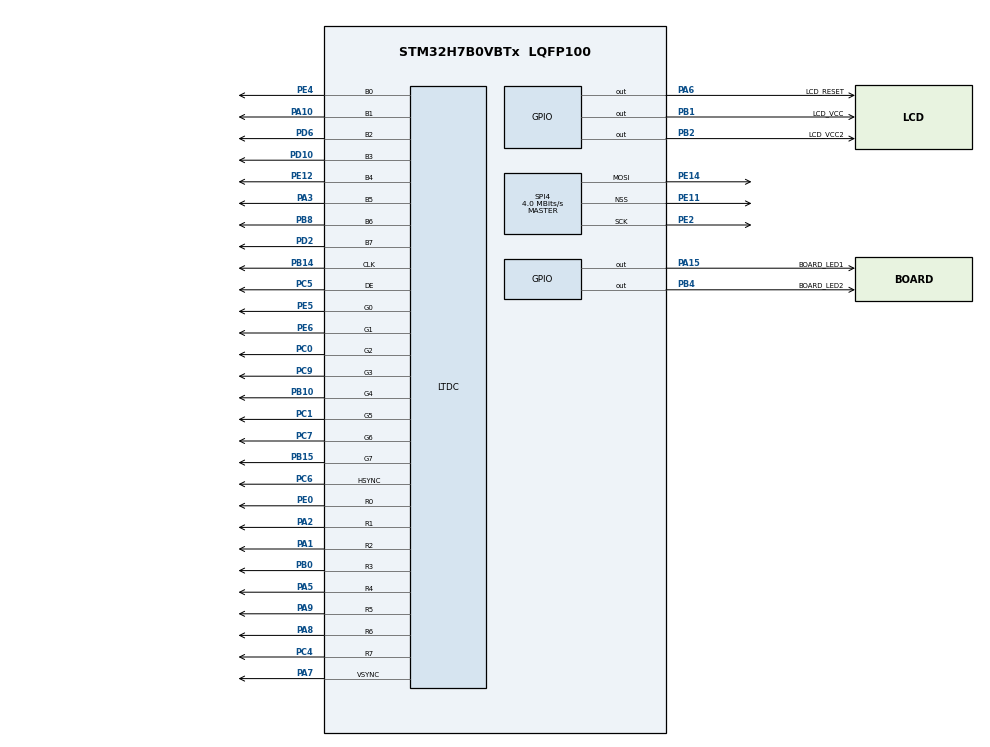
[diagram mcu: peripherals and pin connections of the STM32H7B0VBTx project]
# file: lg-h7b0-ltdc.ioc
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CORTEX_M7.CPU_DCache=Enabled
CORTEX_M7.CPU_ICache=Enabled
CORTEX_M7.MPU_Control=__NULL
JPEG.USE_JPEG_ENCODER=0
LTDC.ActiveH=0
LTDC.ActiveW=0
LTDC.Alpha0_L0=255
LTDC.Alpha_L0=255
LTDC.Blue=255
LTDC.Blue_L0=205
LTDC.DEPolarity=LTDC_DEPOLARITY_AL
LTDC.Green=255
LTDC.Green_L0=205
LTDC.Green_L1=255
LTDC.HBP=72-48
LTDC.HFP=0
LTDC.HSPolarity=LTDC_HSPOLARITY_AL
LTDC.HSync=48+1
LTDC.ImageHeight_L0=720
LTDC.ImageWidth_L0=480
LTDC.Layers=0
LTDC.PCPolarity=LTDC_PCPOLARITY_IIPC
LTDC.PixelFormat_L0=LTDC_PIXEL_FORMAT_RGB888
LTDC.Red=255
LTDC.Red_L0=205
LTDC.VBP=18-10
LTDC.VFP=0
LTDC.VSPolarity=LTDC_VSPOLARITY_AL
LTDC.VSync=10+1
LTDC.WindowX0_L0=5
LTDC.WindowX1_L0=483
LTDC.WindowY0_L0=8+40
LTDC.WindowY1_L0=803-40
Mcu.Family=STM32H7
Mcu.Name=STM32H7B0VBTx
Mcu.Package=LQFP100
NVIC.JPEG_IRQn=true\:0\:0\:false\:false\:true\:true\:true
NVIC.LTDC_ER_IRQn=true\:0\:0\:false\:false\:true\:true\:true
NVIC.LTDC_IRQn=true\:0\:0\:false\:false\:true\:true\:true
NVIC.PriorityGroup=NVIC_PRIORITYGROUP_4
NVIC.TIM2_IRQn=true\:0\:0\:false\:false\:true\:true\:true
PA1.Mode=RGB888
PA1.Signal=LTDC_R2
PA10.Mode=RGB888
PA10.Signal=LTDC_B1
PA13.Mode=Serial_Wire
PA13.Signal=DEBUG_JTMS-SWDIO
PA14.Mode=Serial_Wire
PA14.Signal=DEBUG_JTCK-SWCLK
PA15.GPIO_Label=BOARD_LED1
PA15.Signal=GPIO_Output
PA2.Mode=RGB888
PA2.Signal=LTDC_R1
PA3.GPIO_Speed=GPIO_SPEED_FREQ_VERY_HIGH
PA3.Mode=RGB888
PA3.Signal=LTDC_B5
PA5.GPIO_Speed=GPIO_SPEED_FREQ_VERY_HIGH
PA5.Mode=RGB888
PA5.Signal=LTDC_R4
PA6.GPIO_Label=LCD_RESET
PA6.GPIO_Speed=GPIO_SPEED_FREQ_LOW
PA6.PinState=GPIO_PIN_SET
PA6.Signal=GPIO_Output
PA7.GPIO_Speed=GPIO_SPEED_FREQ_VERY_HIGH
PA7.Mode=RGB888
PA7.Signal=LTDC_VSYNC
PA8.GPIO_Speed=GPIO_SPEED_FREQ_VERY_HIGH
PA8.Mode=RGB888
PA8.Signal=LTDC_R6
PA9.GPIO_Speed=GPIO_SPEED_FREQ_VERY_HIGH
PA9.Mode=RGB888
PA9.Signal=LTDC_R5
PB0.GPIO_Speed=GPIO_SPEED_FREQ_VERY_HIGH
PB0.Mode=RGB888
PB0.Signal=LTDC_R3
PB1.GPIO_Label=LCD_VCC
PB1.GPIO_Speed=GPIO_SPEED_FREQ_LOW
PB1.Signal=GPIO_Output
PB10.GPIO_Speed=GPIO_SPEED_FREQ_VERY_HIGH
PB10.Mode=RGB888
PB10.Signal=LTDC_G4
PB14.GPIO_Speed=GPIO_SPEED_FREQ_VERY_HIGH
PB14.Mode=RGB888
PB14.Signal=LTDC_CLK
PB15.GPIO_Speed=GPIO_SPEED_FREQ_VERY_HIGH
PB15.Mode=RGB888
PB15.Signal=LTDC_G7
PB2.GPIO_Label=LCD_VCC2
PB2.Signal=GPIO_Output
PB4.GPIO_Label=BOARD_LED2
PB4.Signal=GPIO_Output
PB8.GPIO_Speed=GPIO_SPEED_FREQ_VERY_HIGH
PB8.Mode=RGB888
PB8.Signal=LTDC_B6
PC0.GPIO_Speed=GPIO_SPEED_FREQ_VERY_HIGH
PC0.Mode=RGB888
PC0.Signal=LTDC_G2
PC1.GPIO_Speed=GPIO_SPEED_FREQ_VERY_HIGH
PC1.Mode=RGB888
PC1.Signal=LTDC_G5
PC4.GPIO_Speed=GPIO_SPEED_FREQ_VERY_HIGH
PC4.Mode=RGB888
PC4.Signal=LTDC_R7
PC5.GPIO_Speed=GPIO_SPEED_FREQ_VERY_HIGH
PC5.Mode=RGB888
PC5.Signal=LTDC_DE
PC6.GPIO_Speed=GPIO_SPEED_FREQ_VERY_HIGH
PC6.Mode=RGB888
PC6.Signal=LTDC_HSYNC
PC7.GPIO_Speed=GPIO_SPEED_FREQ_VERY_HIGH
PC7.Mode=RGB888
PC7.Signal=LTDC_G6
PC9.GPIO_Speed=GPIO_SPEED_FREQ_VERY_HIGH
PC9.Mode=RGB888
PC9.Signal=LTDC_G3
PD10.GPIO_Speed=GPIO_SPEED_FREQ_VERY_HIGH
PD10.Mode=RGB888
PD10.Signal=LTDC_B3
PD2.GPIO_Speed=GPIO_SPEED_FREQ_VERY_HIGH
PD2.Mode=RGB888
PD2.Signal=LTDC_B7
PD6.Mode=RGB888
PD6.Signal=LTDC_B2
PE0.Mode=RGB888
PE0.Signal=LTDC_R0
PE11.GPIO_Speed=GPIO_SPEED_FREQ_LOW
PE11.Mode=NSS_Signal_Hard_Output
PE11.Signal=SPI4_NSS
PE12.GPIO_Speed=GPIO_SPEED_FREQ_VERY_HIGH
PE12.Mode=RGB888
PE12.Signal=LTDC_B4
PE14.GPIO_Speed=GPIO_SPEED_FREQ_LOW
PE14.Mode=TX_Only_Simplex_Unidirect_Master
PE14.Signal=SPI4_MOSI
PE2.GPIO_Speed=GPIO_SPEED_FREQ_LOW
PE2.Mode=TX_Only_Simplex_Unidirect_Master
PE2.Signal=SPI4_SCK
PE4.Mode=RGB888
PE4.Signal=LTDC_B0
PE5.Mode=RGB888
PE5.Signal=LTDC_G0
PE6.Mode=RGB888
PE6.Signal=LTDC_G1
PH0-OSC_IN.Mode=HSE-External-Oscillator
PH0-OSC_IN.Signal=RCC_OSC_IN
PH1-OSC_OUT.Mode=HSE-External-Oscillator
PH1-OSC_OUT.Signal=RCC_OSC_OUT
ProjectManager.HeapSize=0x200
ProjectManager.StackSize=0x400
ProjectManager.TargetToolchain=STM32CubeIDE
RCC.ADCFreq_Value=108000000
RCC.APB1Freq_Value=140000000
RCC.APB2Freq_Value=140000000
RCC.APB3Freq_Value=140000000
RCC.APB4Freq_Value=140000000
RCC.CDPPRE=RCC_APB3_DIV2
RCC.CDPPRE1=RCC_APB1_DIV2
RCC.CDPPRE2=RCC_APB2_DIV2
RCC.CortexFreq_Value=280000000
RCC.DIVM1=3
RCC.DIVM2=1
RCC.DIVM3=4
RCC.DIVN1=70
RCC.DIVN2=9
RCC.DIVN3=24
RCC.DIVP3=9
RCC.DIVQ1=1
RCC.DIVR3=5
RCC.HCLKFreq_Value=280000000
RCC.PLL2FRACN=0
RCC.PLL3FRACN=5462
RCC.PLLFRACN=0
RCC.PLLSourceVirtual=RCC_PLLSOURCE_HSE
RCC.SPI123CLockSelection=RCC_SPI123CLKSOURCE_PLL3
RCC.SRDPPRE=RCC_APB4_DIV2
RCC.SYSCLKFreq_VALUE=280000000
RCC.SYSCLKSource=RCC_SYSCLKSOURCE_PLLCLK
RCC.Spi45ClockSelection=RCC_SPI45CLKSOURCE_HSI
RCC.USBFreq_Value=560000000
SPI4.BaudRatePrescaler=SPI_BAUDRATEPRESCALER_16
SPI4.CLKPhase=SPI_PHASE_2EDGE
SPI4.CLKPolarity=SPI_POLARITY_HIGH
SPI4.CalculateBaudRate=4.0 MBits/s
SPI4.DataSize=SPI_DATASIZE_8BIT
SPI4.Direction=SPI_DIRECTION_2LINES_TXONLY
SPI4.Mode=SPI_MODE_MASTER
SPI4.NSSPMode=SPI_NSS_PULSE_DISABLE
SPI4.NSSPolarity=SPI_NSS_POLARITY_LOW
SPI4.VirtualNSS=VM_NSSHARD
SPI4.VirtualType=VM_MASTER
TIM2.AutoReloadPreload=TIM_AUTORELOAD_PRELOAD_ENABLE
TIM2.Period=28000-1
TIM2.Prescaler=10000-1
VP_JPEG_VS_JPEG.Mode=JPEG_Activate
VP_TIM2_VS_ClockSourceINT.Mode=Internal
board=custom

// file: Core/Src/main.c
/* USER CODE BEGIN Header */
/**
  ******************************************************************************
  * @file           : main.c
  * @brief          : Main program body
  ******************************************************************************
  * @attention
  *
  * <h2><center>&copy; Copyright (c) 2022 STMicroelectronics.
  * All rights reserved.</center></h2>
  *
  * This software component is licensed by ST under Ultimate Liberty license
  * SLA0044, the "License"; You may not use this file except in compliance with
  * the License. You may obtain a copy of the License at:
  *                             www.st.com/SLA0044
  *
  ******************************************************************************
  */
/* USER CODE END Header */
#include "main.h"
#include "jpeg.h"
#include "ltdc.h"
#include "spi.h"
#include "tim.h"
#include "gpio.h"

void SystemClock_Config(void);

/* USER CODE BEGIN 0 */

/* GPIO PINOUT
 * LCD VCC    -----> PB1
 * LCD VCC2    -----> PB2
 * LCD RESET  -----> PA6 HIGH
 * BOARD LED2 -----> PB4
 * BOARD LED1 -----> PA15
 */

void LCD_SPI_Transmit(uint8_t *data,int length){
    HAL_SPI_Transmit(&hspi4,data,length,1000);
}

void LCD_WriteReg(uint8_t reg){
    uint8_t regStartByte=0b01110100;  //t
    uint8_t dataBuffer[2];
    dataBuffer[0]=regStartByte;
    dataBuffer[1]=reg;
    LCD_SPI_Transmit(dataBuffer,2);
}
void LCD_WriteDat(uint8_t *data,int len){
    uint8_t datStartByte=0b01110110;  //v
    uint8_t dataBuffer[len+1];
    dataBuffer[0]=datStartByte;
    for(int index=0;index<len;index++){
        dataBuffer[index+1]=data[index];
    }
    LCD_SPI_Transmit(dataBuffer,len+1);
}

void LCD_Power_On_Set(){

    // power on set 1
    HAL_GPIO_WritePin(GPIOB,GPIO_PIN_1,GPIO_PIN_SET);  //VCC ON
    HAL_GPIO_WritePin(GPIOB,GPIO_PIN_2,GPIO_PIN_SET);  //VCC ON

    // power on set 2
    HAL_Delay(10);

    HAL_GPIO_WritePin(GPIOA,GPIO_PIN_6,GPIO_PIN_RESET);  //RESET start
    HAL_Delay(10);
    HAL_GPIO_WritePin(GPIOA,GPIO_PIN_6,GPIO_PIN_SET);  //RESET end

    // power on set 3
    HAL_Delay(10);
}

void LCD_Display_Initial_Set(){

    HAL_GPIO_WritePin(GPIOA,GPIO_PIN_15,GPIO_PIN_SET);  //LED Indicator

    uint8_t data[9]={};
    // display initial set 1-2
    LCD_WriteReg(0xc0);
    data[0]=0x01; data[1]=0x18;
    LCD_WriteDat(data,2);
    // display initial set 3
    HAL_Delay(10);
    // display initial set 4
    LCD_WriteReg(0x20);
    data[0]=0x00;
    LCD_WriteDat(data,1);
    // display initial set 5
    LCD_WriteReg(0x36);
    data[0]=0x00;
    LCD_WriteDat(data,1);
    // display initial set 6
    LCD_WriteReg(0x3a);
    data[0]=0x70;
    LCD_WriteDat(data,1);
    // display initial set 7-9
    LCD_WriteReg(0xb1);
    data[0]=0x12; data[1]=0x1f; data[2]=0x1c;
    LCD_WriteDat(data,3);
    // display initial set 10-11
    LCD_WriteReg(0xb2);
    data[0]=0x20; data[1]=0xc8;
    LCD_WriteDat(data,2);
    // display initial set 12
    LCD_WriteReg(0xb3);
    data[0]=0x00;
    LCD_WriteDat(data,1);
    // display initial set 13
    LCD_WriteReg(0xb4);
    data[0]=0x04;
    LCD_WriteDat(data,1);
    // display initial set 14-18
    LCD_WriteReg(0xb5);
    data[0]=0x12; data[1]=0x0f; data[2]=0x0f; data[3]=0x00; data[4]=0x00;
    LCD_WriteDat(data,5);
    // display initial set 19-24
    LCD_WriteReg(0xb6);
    data[0]=0x03; data[1]=0x18; data[2]=0x02; data[3]=0x40; data[4]=0x10; data[5]=0x33;
    LCD_WriteDat(data,6);
    // display initial set 25
    HAL_Delay(10);
    // display initial set 26-30
    LCD_WriteReg(0xc3);
    data[0]=0x07; data[1]=0x05; data[2]=0x04; data[3]=0x04; data[4]=0x03;
    LCD_WriteDat(data,5);
    // display initial set 31-36
    LCD_WriteReg(0xc4);
    data[0]=0x12; data[1]=0x34; data[2]=0x13; data[3]=0x13; data[4]=0x00; data[5]=0x0c;
    LCD_WriteDat(data,6);
    // display initial set 37
    HAL_Delay(10);
    // display initial set 38
    LCD_WriteReg(0xc5);
    data[0]=0x76;
    LCD_WriteDat(data,1);
    // display initial set 39
    HAL_Delay(10);
    // display initial set 40-42
    LCD_WriteReg(0xc6);
    data[0]=0x23; data[1]=0x50; data[2]=0x00;
    LCD_WriteDat(data,3);
    // display initial set 43
    HAL_Delay(10);
    // display initial set 44-45
    LCD_WriteReg(0xc7);
    data[0]=0x00; data[1]=0xff;
    LCD_WriteDat(data,2);
    // display initial set 53-61
    LCD_WriteReg(0xd0);
    data[0]=0x00; data[1]=0x04; data[2]=0x57; data[3]=0x02; data[4]=0x00; data[5]=0x00; data[6]=0x02; data[7]=0x00; data[8]=0x03;
    LCD_WriteDat(data,9);
    // display initial set 62-70
    LCD_WriteReg(0xd2);
    data[0]=0x00; data[1]=0x04; data[2]=0x57; data[3]=0x02; data[4]=0x00; data[5]=0x00; data[6]=0x02; data[7]=0x00; data[8]=0x03;
    LCD_WriteDat(data,9);
    // display initial set 71-79
    LCD_WriteReg(0xd4);
    data[0]=0x00; data[1]=0x04; data[2]=0x57; data[3]=0x02; data[4]=0x00; data[5]=0x00; data[6]=0x02; data[7]=0x00; data[8]=0x03;
    LCD_WriteDat(data,9);
    // display initial set 80-89
    LCD_WriteReg(0xd1);
    data[0]=0x00; data[1]=0x04; data[2]=0x57; data[3]=0x02; data[4]=0x00; data[5]=0x00; data[6]=0x00; data[7]=0x00; data[8]=0x03;
    LCD_WriteDat(data,9);
    // display initial set 90-98
    LCD_WriteReg(0xd3);
    data[0]=0x00; data[1]=0x04; data[2]=0x57; data[3]=0x02; data[4]=0x00; data[5]=0x00; data[6]=0x00; data[7]=0x00; data[8]=0x03;
    LCD_WriteDat(data,9);
    // display initial set 99-107
    LCD_WriteReg(0xd5);
    data[0]=0x00; data[1]=0x04; data[2]=0x57; data[3]=0x02; data[4]=0x00; data[5]=0x00; data[6]=0x00; data[7]=0x00; data[8]=0x03;
    LCD_WriteDat(data,9);

    HAL_GPIO_WritePin(GPIOA,GPIO_PIN_15,GPIO_PIN_RESET);  //LED Indicator
}

void LCD_Sleep_Out_N_Display_On_Set(){

    HAL_GPIO_WritePin(GPIOA,GPIO_PIN_15,GPIO_PIN_SET);  //LED Indicator

    uint8_t data[9]={};
    // sleep out & display on set 1
    LCD_WriteReg(0x11);
    data[0]=0x00;
    LCD_WriteDat(data,1);
    // sleep out & display on set 2
    HAL_Delay(100);
    // sleep out & display on set 3
    LCD_WriteReg(0x29);
    data[0]=0x00;
    LCD_WriteDat(data,1);

    HAL_GPIO_WritePin(GPIOA,GPIO_PIN_15,GPIO_PIN_RESET);  //LED Indicator

}
void LCD_Display_Off_N_Sleep_In_Set(){

    HAL_GPIO_WritePin(GPIOA,GPIO_PIN_15,GPIO_PIN_SET);  //LED Indicator

    uint8_t data[9]={};
    // display off & sleep in set 1
    LCD_WriteReg(0x10);
    data[0]=0x00;
    LCD_WriteDat(data,1);
    // display off & sleep in set 2
    LCD_WriteReg(0x28);
    data[0]=0x00;
    LCD_WriteDat(data,1);

    HAL_GPIO_WritePin(GPIOA,GPIO_PIN_15,GPIO_PIN_RESET);  //LED Indicator

}

#define PI 3.14159265

#define S(o, n) r[t[(int)(h[0]) / 60 * 3 + o] + o - 2] = (n + h[2] - c / 2) * 255;
void C(float h[3], int r[3]) {
    float g = 2 * h[2] - 1, c = (g < 0 ? 1 + g : 1 - g) * h[1], a = (int)(h[0]) % 120 / 60.f - 1;
    int t[] = { 2, 2, 2, 3, 1, 2, 3, 3, 0, 4, 2, 0, 4, 1, 1, 2, 3, 1 };
    S(0, c)
    S(1, c * (a < 0 ? 1 + a : 1 - a))
    S(2, 0)
}

uint32_t huecolor(float hue) {
    int normalized = (int)(hue /360.0 * 256 * 6);

    //find the region for this position
    int region = normalized / 256;

    //find the distance to the start of the closest region
    int x = normalized % 256;

    uint8_t r = 0, g = 0, b = 0;
    switch (region)
    {
        case 0: r = 255; g = 0;   b = 0;   g += x; break;
        case 1: r = 255; g = 255; b = 0;   r -= x; break;
        case 2: r = 0;   g = 255; b = 0;   b += x; break;
        case 3: r = 0;   g = 255; b = 255; g -= x; break;
        case 4: r = 0;   g = 0;   b = 255; r += x; break;
        case 5: r = 255; g = 0;   b = 255; b -= x; break;
    }
    return r + (g << 8) + (b << 16);
}
void pset32to16(int x,int y,uint32_t data){
    int r=data>>19&0b11111;
    int g=data>>10&0b111111;
    int b=data>>3&0b11111;
    int color=0;
    color|=r<<11|g<<5|b;
    displayData[x + y * 480] = color;
}

uint16_t huecolor16(float hue) {
    float r = 0, g = 0, b = 0;
    uint16_t color = 0;
    int rgb[3] = {};
    float hsl[3] = { hue, 1, .6 };
    C(hsl, rgb);
    r = rgb[0] * 0b11111 / 255;
    g = rgb[1] * 0b111111 / 255;
    b = rgb[2] * 0b11111 / 255;
    color |= (((uint16_t)(r)&0b11111) << 11);
    color |= (((uint16_t)(g)&0b111111) << 5);
    color |= ((uint16_t)(b)&0b11111);
    return color;
}

void pset24(int x,int y,uint32_t data){
    if(y>=720)return;
    displayData[x*3 + y*3 * 480] = (data&0xff); //b
    displayData[x*3+1 + y*3 * 480] = (data&0xff00)>>8; //g
    displayData[x*3+2+ y*3 * 480] = (data&0xff0000)>>16; //r
}

void pset32(int x,int y,uint32_t data){
    displayData[x + y * 480] = data;
}

volatile uint32_t color=0;
float hue=0;
int r=0;
int centerX=480/2,centerY=720/2;
const uint8_t font8x8[13][8] = {
        {0x3c, 0x42, 0x46, 0x4a, 0x52, 0x62, 0x3c, 0x00},  // 0030 (zero)
        {0x10, 0x30, 0x50, 0x10, 0x10, 0x10, 0x7c, 0x00},  // 0031 (one)
        {0x3c, 0x42, 0x02, 0x0c, 0x30, 0x42, 0x7e, 0x00},  // 0032 (two)
        {0x3c, 0x42, 0x02, 0x1c, 0x02, 0x42, 0x3c, 0x00},  // 0033 (three)
        {0x08, 0x18, 0x28, 0x48, 0xfe, 0x08, 0x1c, 0x00},  // 0034 (four)
        {0x7e, 0x40, 0x7c, 0x02, 0x02, 0x42, 0x3c, 0x00},  // 0035 (five)
        {0x1c, 0x20, 0x40, 0x7c, 0x42, 0x42, 0x3c, 0x00},  // 0036 (six)
        {0x7e, 0x42, 0x04, 0x08, 0x10, 0x10, 0x10, 0x00},  // 0037 (seven)
        {0x3c, 0x42, 0x42, 0x3c, 0x42, 0x42, 0x3c, 0x00},  // 0038 (eight)
        {0x3c, 0x42, 0x42, 0x3e, 0x02, 0x04, 0x38, 0x00},  // 0039 (nine)
        {0x0c, 0x12, 0x10, 0x38, 0x10, 0x10, 0x38, 0x00},  // 0066 (f)
        {0x00, 0x00, 0x6c, 0x32, 0x32, 0x2c, 0x20, 0x70},  // 0070 (p)
        {0x00, 0x00, 0x3e, 0x40, 0x3c, 0x02, 0x7c, 0x00},  // 0073 (s)
};
void printChar(int index,int cx,int cy){
    uint8_t* data=font8x8[index];
    for(int y=0;y<8;y++){
        int line=data[y];
        for(int x=0;x<8;x++){
            for(int r=0;r<2;r++){
                for( int s=0;s<2;s++){
                    if((line>>(7-x))&1==1){
                        pset24(cx+(7-y)*2+r,cy+x*2+s,0xffffff);
                    }else{
                        pset24(cx+(7-y)*2+r,cy+x*2+s,0);
                    }
                }
            }
        }
    }
}

void printFPS(int fps){
    printChar(fps/100%10,0,0);
    printChar(fps/10%10,0,15);
    printChar(fps%10,0,15*2);
    printChar(10,0,15*3);
    printChar(11,0,15*4);
    printChar(12,0,15*5);
}
int time=0;
int fps=0;
void HAL_TIM_PeriodElapsedCallback(TIM_HandleTypeDef* htim){
    printFPS(fps);
    fps=0;
}
//uint32_t hueLUT[720]={};
float sineLUT[360]={};
float cosineLUT[360]={};
void draw() {
//    hue+=2;
//    if(hue>359)hue=0;
//    color=hueLUT[(int)hue/2];
//    for(int i=0;i<800;i++){
////        hue+=2;
////        if(hue>359)hue=0;
//        for(int j=16;j<480;j++){
//            pset16(j,i,color);
//        }
//    }

    hue += 1;
    if(hue>359)hue=0;
    for (int i = 0; i < 720; i++) {
        hue+=0.5;
        if(hue>359)hue=0;
        color=huecolor(hue);
        for(int r=100;r<200;r+=4) {
            int x1 = cosineLUT[i/2] * r + centerX;
            int y1 = sineLUT[i/2] * r + centerY;
            for(int x=-2;x<3;x++){
                for(int y=-2;y<3;y++) {
                    pset24(x1+x, y1+y, color);
                }
            }
        }
    }
    fps+=1;
}

/* USER CODE END 0 */

int main(void)
{
  /* USER CODE BEGIN 1 */
    for(int i=0;i<360;i++){
        //hueLUT[i]= huecolor((float)i);
        sineLUT[i]=sin(i*PI/180);
        cosineLUT[i]=cos(i*PI/180);
    }
  /* USER CODE END 1 */

  /* Enable I-Cache---------------------------------------------------------*/
  SCB_EnableICache();

  /* Enable D-Cache---------------------------------------------------------*/
  SCB_EnableDCache();

  /* MCU Configuration--------------------------------------------------------*/

  /* Reset of all peripherals, Initializes the Flash interface and the Systick. */
  HAL_Init();

  /* Configure the system clock */
  SystemClock_Config();

  /* Initialize all configured peripherals */
  MX_GPIO_Init();
//  MX_LTDC_Init();
  MX_SPI4_Init();
  MX_TIM2_Init();
  MX_JPEG_Init();
  /* USER CODE BEGIN 2 */
    HAL_TIM_Base_Start_IT(&htim2);

    HAL_GPIO_WritePin(GPIOA,GPIO_PIN_15,GPIO_PIN_RESET);  //LED Indicator
    HAL_GPIO_WritePin(GPIOB,GPIO_PIN_2,GPIO_PIN_RESET);  //LED VCC

    HAL_Delay(100);
    LCD_Power_On_Set();
    //HAL_Delay(100);
    LCD_Display_Initial_Set();
    //HAL_Delay(100);
    LCD_Sleep_Out_N_Display_On_Set();

    MX_LTDC_Init();

//    for(int i=150;i<690;i++){
//        color=huecolor(hue);
//        hue+=0.5;
//        if(hue>=359)hue=0;
//        for(int j=0;j<370;j++){
//            displayData[(i)*370+j]=color;
//        }
//    }
    for(int i=0;i<480;i++){
        for(int j=0;j<800;j++){
            pset24(i,j,0xffffff);
        }
    }
    for(int h=0;h<lgHeight;h++){
        for(int w=0;w<lgWidth;w++) {
//            displayData[w + h * 370] = lg[w + h *lgWidth];
            pset24(w,h,lg[w + h *lgWidth]);
            //displayData[w +(370-lgWidth)+ h * 370] = lg[w + h *lgWidth];
        }
    }

  /* USER CODE END 2 */

  /* Infinite loop */
  /* USER CODE BEGIN WHILE */

    while (1)
    {
        draw();

//      HAL_GPIO_WritePin(GPIOA,GPIO_PIN_15,GPIO_PIN_RESET);  //LED Indicator
//      HAL_Delay(500);
//      HAL_GPIO_WritePin(GPIOA,GPIO_PIN_15,GPIO_PIN_SET);  //LED Indicator
//      HAL_Delay(500);

//        r+=2;
//        if(r>690-150)r=0;
//        for(int h=0;h<lgHeight;h++){
//            for(int w=0;w<lgWidth;w++) {
//                pset(w,h+r,lg[w + h *lgWidth]);
//                //displayData[w+ (h+r) * 370] = lg[w + h *lgWidth];
//            }
//        }

    /* USER CODE END WHILE */

  }
}

void SystemClock_Config(void)
{
  RCC_OscInitTypeDef RCC_OscInitStruct = {0};
  RCC_ClkInitTypeDef RCC_ClkInitStruct = {0};

  /** Supply configuration update enable
  */
  HAL_PWREx_ConfigSupply(PWR_LDO_SUPPLY);
  /** Configure the main internal regulator output voltage
  */
  __HAL_PWR_VOLTAGESCALING_CONFIG(PWR_REGULATOR_VOLTAGE_SCALE0);

  while(!__HAL_PWR_GET_FLAG(PWR_FLAG_VOSRDY)) {}
  /** Macro to configure the PLL clock source
  */
  __HAL_RCC_PLL_PLLSOURCE_CONFIG(RCC_PLLSOURCE_HSE);
  /** Initializes the RCC Oscillators according to the specified parameters
  * in the RCC_OscInitTypeDef structure.
  */
  RCC_OscInitStruct.OscillatorType = RCC_OSCILLATORTYPE_HSI|RCC_OSCILLATORTYPE_HSE;
  RCC_OscInitStruct.HSEState = RCC_HSE_ON;
  RCC_OscInitStruct.HSIState = RCC_HSI_DIV1;
  RCC_OscInitStruct.HSICalibrationValue = RCC_HSICALIBRATION_DEFAULT;
  RCC_OscInitStruct.PLL.PLLState = RCC_PLL_ON;
  RCC_OscInitStruct.PLL.PLLSource = RCC_PLLSOURCE_HSE;
  RCC_OscInitStruct.PLL.PLLM = 3;
  RCC_OscInitStruct.PLL.PLLN = 70;
  RCC_OscInitStruct.PLL.PLLP = 2;
  RCC_OscInitStruct.PLL.PLLQ = 1;
  RCC_OscInitStruct.PLL.PLLR = 2;
  RCC_OscInitStruct.PLL.PLLRGE = RCC_PLL1VCIRANGE_3;
  RCC_OscInitStruct.PLL.PLLVCOSEL = RCC_PLL1VCOWIDE;
  RCC_OscInitStruct.PLL.PLLFRACN = 0;
  if (HAL_RCC_OscConfig(&RCC_OscInitStruct) != HAL_OK)
  {
    Error_Handler();
  }
  /** Initializes the CPU, AHB and APB buses clocks
  */
  RCC_ClkInitStruct.ClockType = RCC_CLOCKTYPE_HCLK|RCC_CLOCKTYPE_SYSCLK
                              |RCC_CLOCKTYPE_PCLK1|RCC_CLOCKTYPE_PCLK2
                              |RCC_CLOCKTYPE_D3PCLK1|RCC_CLOCKTYPE_D1PCLK1;
  RCC_ClkInitStruct.SYSCLKSource = RCC_SYSCLKSOURCE_PLLCLK;
  RCC_ClkInitStruct.SYSCLKDivider = RCC_SYSCLK_DIV1;
  RCC_ClkInitStruct.AHBCLKDivider = RCC_HCLK_DIV1;
  RCC_ClkInitStruct.APB3CLKDivider = RCC_APB3_DIV2;
  RCC_ClkInitStruct.APB1CLKDivider = RCC_APB1_DIV2;
  RCC_ClkInitStruct.APB2CLKDivider = RCC_APB2_DIV2;
  RCC_ClkInitStruct.APB4CLKDivider = RCC_APB4_DIV2;

  if (HAL_RCC_ClockConfig(&RCC_ClkInitStruct, FLASH_LATENCY_7) != HAL_OK)
  {
    Error_Handler();
  }
}

void Error_Handler(void)
{
  /* USER CODE BEGIN Error_Handler_Debug */
  /* User can add his own implementation to report the HAL error return state */
  HAL_GPIO_WritePin(GPIOB,GPIO_PIN_4,GPIO_PIN_SET);  //LED Indicator
  __disable_irq();
  while (1)
  {

  }
  /* USER CODE END Error_Handler_Debug */
}

/************************ (C) COPYRIGHT STMicroelectronics *****END OF FILE****/
